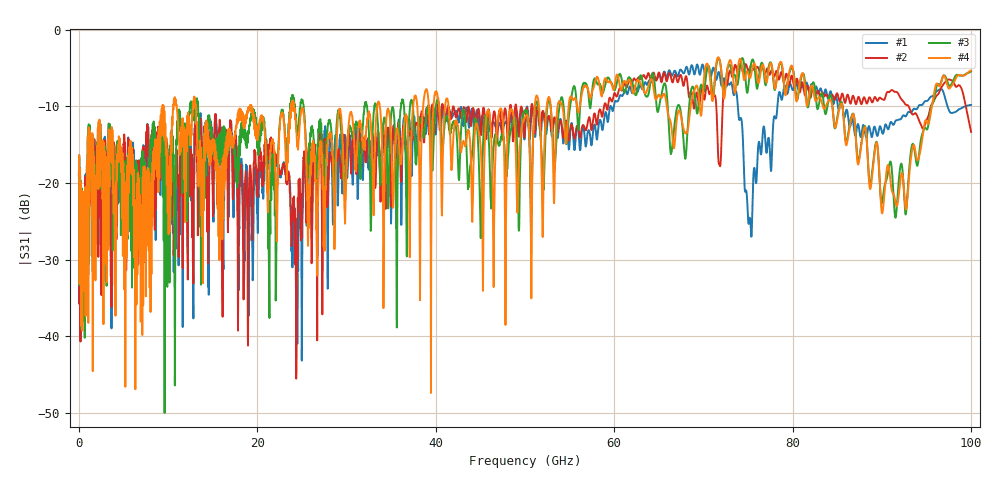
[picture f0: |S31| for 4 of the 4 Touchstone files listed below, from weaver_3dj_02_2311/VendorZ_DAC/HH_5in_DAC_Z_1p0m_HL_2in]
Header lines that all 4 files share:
# GHz S RI R 45
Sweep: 25 MHz to 100 GHz
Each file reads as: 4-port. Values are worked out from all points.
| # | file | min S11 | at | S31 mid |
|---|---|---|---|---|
| 1 | HH_5in_DAC_Z_1p0m_HL_2in_FEXT_TP0_Tx5_to_TP5_Rx7.s4p | -43.3 dB | 17.95 GHz | -13.2 dB at 50.02 GHz |
| 2 | HH_5in_DAC_Z_1p0m_HL_2in_FEXT_TP0_Tx6_to_TP5_Rx7.s4p | -49.0 dB | 11.32 GHz | -12.7 dB at 50.02 GHz |
| 3 | HH_5in_DAC_Z_1p0m_HL_2in_NEXT_TP0_Tx7_to_TP5_Rx7.s4p | -57.6 dB | 98.67 GHz | -10.5 dB at 50.02 GHz |
| 4 | HH_5in_DAC_Z_1p0m_HL_2in_NEXT_TP0_Tx8_to_TP5_Tx7.s4p | -62.1 dB | 11.43 GHz | -11.4 dB at 50.02 GHz |
